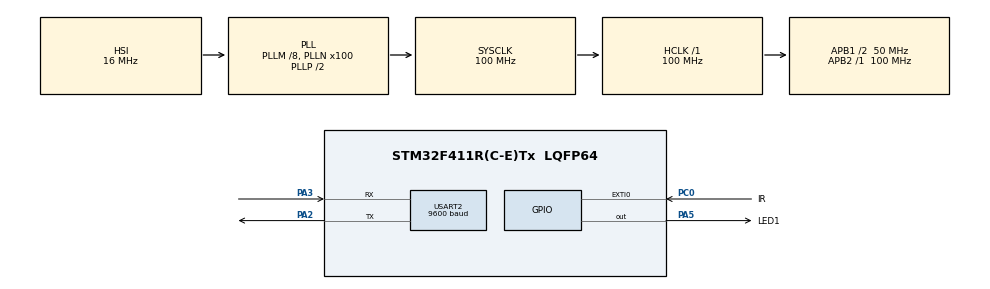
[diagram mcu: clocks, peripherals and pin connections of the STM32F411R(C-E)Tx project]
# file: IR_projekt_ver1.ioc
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Mcu.Family=STM32F4
Mcu.Name=STM32F411R(C-E)Tx
Mcu.Package=LQFP64
NVIC.EXTI0_IRQn=true\:0\:0\:false\:false\:true\:true
NVIC.PriorityGroup=NVIC_PRIORITYGROUP_4
NVIC.RCC_IRQn=true\:0\:0\:false\:false\:true\:true
NVIC.USART2_IRQn=true\:0\:0\:false\:false\:true\:true
PA2.Mode=Asynchronous
PA2.Signal=USART2_TX
PA3.Mode=Asynchronous
PA3.Signal=USART2_RX
PA5.GPIO_Label=LED1
PA5.Signal=GPIO_Output
PC0.GPIO_Label=IR
PC0.GPIO_ModeDefaultEXTI=GPIO_MODE_IT_RISING_FALLING
PC0.Signal=GPXTI0
PH0\ -\ OSC_IN.Mode=HSE-External-Oscillator
PH0\ -\ OSC_IN.Signal=RCC_OSC_IN
PH1\ -\ OSC_OUT.Mode=HSE-External-Oscillator
PH1\ -\ OSC_OUT.Signal=RCC_OSC_OUT
ProjectManager.HeapSize=0x200
ProjectManager.StackSize=0x400
ProjectManager.TargetToolchain=SW4STM32
RCC.48MHZClocksFreq_Value=50000000
RCC.AHBFreq_Value=100000000
RCC.APB1CLKDivider=RCC_HCLK_DIV2
RCC.APB1Freq_Value=50000000
RCC.APB1TimFreq_Value=100000000
RCC.APB2Freq_Value=100000000
RCC.APB2TimFreq_Value=100000000
RCC.CortexFreq_Value=100000000
RCC.HCLKFreq_Value=100000000
RCC.HSE_VALUE=25000000
RCC.HSI_VALUE=16000000
RCC.LSE_VALUE=32768
RCC.PLLM=8
RCC.PLLN=100
RCC.SYSCLKFreq_VALUE=100000000
RCC.SYSCLKSource=RCC_SYSCLKSOURCE_PLLCLK
RCC.VCOOutputFreq_Value=200000000
TIM3.Period=4
TIM3.Prescaler=1
USART2.BaudRate=9600
USART2.VirtualMode=VM_ASYNC
VP_TIM3_VS_ClockSourceINT.Mode=Internal
board=custom

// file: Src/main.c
/**
 ******************************************************************************
 * @file           : main.c
 * @brief          : Main program body
 ******************************************************************************
 ** This notice applies to any and all portions of this file
 * that are not between comment pairs USER CODE BEGIN and
 * USER CODE END. Other portions of this file, whether
 * inserted by the user or by software development tools
 * are owned by their respective copyright owners.
 *
 * COPYRIGHT(c) 2018 STMicroelectronics
 *
 * Redistribution and use in source and binary forms, with or without modification,
 * are permitted provided that the following conditions are met:
 *   1. Redistributions of source code must retain the above copyright notice,
 *      this list of conditions and the following disclaimer.
 *   2. Redistributions in binary form must reproduce the above copyright notice,
 *      this list of conditions and the following disclaimer in the documentation
 *      and/or other materials provided with the distribution.
 *   3. Neither the name of STMicroelectronics nor the names of its contributors
 *      may be used to endorse or promote products derived from this software
 *      without specific prior written permission.
 *
 * THIS SOFTWARE IS PROVIDED BY THE COPYRIGHT HOLDERS AND CONTRIBUTORS "AS IS"
 * AND ANY EXPRESS OR IMPLIED WARRANTIES, INCLUDING, BUT NOT LIMITED TO, THE
 * IMPLIED WARRANTIES OF MERCHANTABILITY AND FITNESS FOR A PARTICULAR PURPOSE ARE
 * DISCLAIMED. IN NO EVENT SHALL THE COPYRIGHT HOLDER OR CONTRIBUTORS BE LIABLE
 * FOR ANY DIRECT, INDIRECT, INCIDENTAL, SPECIAL, EXEMPLARY, OR CONSEQUENTIAL
 * DAMAGES (INCLUDING, BUT NOT LIMITED TO, PROCUREMENT OF SUBSTITUTE GOODS OR
 * SERVICES; LOSS OF USE, DATA, OR PROFITS; OR BUSINESS INTERRUPTION) HOWEVER
 * CAUSED AND ON ANY THEORY OF LIABILITY, WHETHER IN CONTRACT, STRICT LIABILITY,
 * OR TORT (INCLUDING NEGLIGENCE OR OTHERWISE) ARISING IN ANY WAY OUT OF THE USE
 * OF THIS SOFTWARE, EVEN IF ADVISED OF THE POSSIBILITY OF SUCH DAMAGE.
 *
 ******************************************************************************
 */
#include "main.h"
#include "stm32f4xx_hal.h"

/* USER CODE BEGIN Includes */
#include <stdbool.h>
#include "przyciski.h"
//
#define buffer_size 255 //rozmiar bufora kolowego
#define adres_domowy 0x16
#define Start       0x80
#define end         0x40
#define czy_starszy           0B00010000
uint8_t i = 0;
uint8_t znak;
uint8_t bajt;

const int led_on_off = 0x11; // komenda led on/led off
const int miganie = 0x10; //miganie dioda
const int przycisk = 0x09; //ostatni wduszony przycisk

int flaga;
/* USER CODE END Includes */

TIM_HandleTypeDef htim3;

UART_HandleTypeDef huart2;

/* USER CODE BEGIN PV */

/* Private variables ---------------------------------------------------------*/
uint32_t czas = 0;
uint8_t polbit = 0;
uint32_t zdekodowany_sygnal = 0;
uint8_t sukces = 0;
uint32_t cos = 0;
int miejsce = 0;
int8_t liczba = 0;

bool sygnal = false;
uint32_t timer = 0;
bool timer_go = false;
bool timer_ramka_go = false;
uint32_t timer_ramka = 0;

uint8_t Received;     //zmienna przechowujaca dane odebrane z usarta
uint8_t przerwanie = 0;  // flaga informujaca o uruchomieniu przerwania usarta
uint8_t buffer_rx[buffer_size]; //bufor konowy
uint8_t buffer_end = 0; //indeks konca zapisu
uint8_t buffer_start = 0; //indeks poczatku zapisu
uint8_t CMD_buffer_rx[buffer_size]; //bufor pomocniczy
uint8_t CMD_BUFFER_INDEX = 0; // indeks bufora
uint16_t zapalona; //jak dlugo dioda zapalona
uint16_t zgaszona; //jak dlugo dioda zgaszona

uint8_t buffer_tx[buffer_size]; //bufor kolowy
uint8_t buffer_xx[buffer_size];
uint8_t buffer_tx_end = 0; //indeks konca zapisu
uint8_t buffer_tx_start = 0; //indeks poczatku zapisu
uint8_t tx_transmit = 0;

uint8_t data[buffer_size];
uint8_t flag = 0;
uint8_t flaga_starszego = 1;
/* USER CODE END PV */

void SystemClock_Config(void);
static void MX_GPIO_Init(void);
static void MX_TIM3_Init(void);
static void MX_USART2_UART_Init(void);

/* USER CODE BEGIN PFP */
/* Private function prototypes -----------------------------------------------*/

/* USER CODE END PFP */

/* USER CODE BEGIN 0 */

void HAL_GPIO_EXTI_Callback(uint16_t GPIO_Pin) {
	if (GPIO_Pin == GPIO_PIN_0) {
		sygnal = true;
	}
}
int dekodowania = 0;

int minimum = 10000;
int maximum = 0;
void dekodowanie() {
	czas = timer;
	timer = 0;
//	if( czas > maximum)
//		maximum = czas;
//	if (czas < minimum)
//		minimum = czas;

	//odbioru pierwszego bitu
	if ((polbit == 0)
			&& (HAL_GPIO_ReadPin(IR_GPIO_Port, IR_Pin) == GPIO_PIN_RESET)) {
		//wyzerowanie oraz w³¹czenie licznika
		timer = 0;
		timer_go = true;
		//ustawienie wartoœci pocz¹tkowych
		polbit = 1;
		zdekodowany_sygnal = 0;
		sukces = 0;

	} else if (polbit > 0) {
		//aktualizacja stanu w którym znajduje sie dekodowanie rc5
		// ze sprawdzaniem czy czas trwania impulsu jest poprawny
		//news = licznik1;
		if ((czas >= 13) && (czas <= 22)) {
			polbit += 2;

		} else if ((czas >= 5) && (czas <= 11)) {
			polbit += 1;
		}

		//w przypadku b³êdnego czasu trwania stanu zerowanie
		else {
			polbit = 0;
		}
	}

	//b³¹d
	else {
		polbit = 0;
	}

	switch (polbit) {
	//rozpoznawanie stanów
	case 27:
		if (HAL_GPIO_ReadPin(IR_GPIO_Port, IR_Pin) == GPIO_PIN_RESET) {
			zdekodowany_sygnal |= 0x01;
		}
		//odebrano pomyœlnie
		sukces = 1;
		cos = zdekodowany_sygnal;
		info_przyciski(cos);
		polbit = 0;
		break;

	case 25:
		if (HAL_GPIO_ReadPin(IR_GPIO_Port, IR_Pin) == GPIO_PIN_RESET) {
			zdekodowany_sygnal |= 0x0002;
		}
		break;
	case 23:
		if (HAL_GPIO_ReadPin(IR_GPIO_Port, IR_Pin) == GPIO_PIN_RESET) {
			zdekodowany_sygnal |= 0x0004;
		}
		break;
	case 21:
		if (HAL_GPIO_ReadPin(IR_GPIO_Port, IR_Pin) == GPIO_PIN_RESET) {
			zdekodowany_sygnal |= 0x0008;
		}
		break;
	case 19:
		if (HAL_GPIO_ReadPin(IR_GPIO_Port, IR_Pin) == GPIO_PIN_RESET) {
			zdekodowany_sygnal |= 0x0010;
		}
		break;
	case 17:
		if (HAL_GPIO_ReadPin(IR_GPIO_Port, IR_Pin) == GPIO_PIN_RESET) {
			zdekodowany_sygnal |= 0x0020;
		}
		break;
	case 15:
		if (HAL_GPIO_ReadPin(IR_GPIO_Port, IR_Pin) == GPIO_PIN_RESET) {
			zdekodowany_sygnal |= 0x0040;
		}
		break;
	case 13:
		if (HAL_GPIO_ReadPin(IR_GPIO_Port, IR_Pin) == GPIO_PIN_RESET) {
			zdekodowany_sygnal |= 0x0080;
		}
		break;
	case 11:
		if (HAL_GPIO_ReadPin(IR_GPIO_Port, IR_Pin) == GPIO_PIN_RESET) {
			zdekodowany_sygnal |= 0x0100;
		}
		break;
	case 9:
		if (HAL_GPIO_ReadPin(IR_GPIO_Port, IR_Pin) == GPIO_PIN_RESET) {
			zdekodowany_sygnal |= 0x0200;
		}
		break;
	case 7:
		if (HAL_GPIO_ReadPin(IR_GPIO_Port, IR_Pin) == GPIO_PIN_RESET) {
			zdekodowany_sygnal |= 0x0400;
		}
		break;
	case 5:
		if (HAL_GPIO_ReadPin(IR_GPIO_Port, IR_Pin) == GPIO_PIN_RESET) {
			zdekodowany_sygnal |= 0x0800;
		}
		break;
	case 3:
		if (HAL_GPIO_ReadPin(IR_GPIO_Port, IR_Pin) == GPIO_PIN_RESET) {
			zdekodowany_sygnal |= 0x1000;
		}

		break;
	case 1:
		if (HAL_GPIO_ReadPin(IR_GPIO_Port, IR_Pin) == GPIO_PIN_RESET) {
			zdekodowany_sygnal |= 0x2000;
		}

		break;
	default:
		break;
	}
}

//callback wywolywany po odborze
void HAL_UART_RxCpltCallback(UART_HandleTypeDef *huart) {
	if (huart->Instance == USART2) {
		buffer_end++;
		if (buffer_end >= buffer_size) {
			buffer_end = 0;
		}
		HAL_UART_Receive_IT(&huart2, &buffer_rx[buffer_end], 1);
	}
}

#define POLYNOM 0x1021
uint16_t crc = 0xFFFF;
void error() {
	i = 0;
	crc = 0xFFFF;
	flag = 0;
	flaga_starszego = 1;
}

unsigned int crc16(unsigned int crcValue, unsigned char newByte) {
	unsigned char i;
	for (i = 0; i < 8; i++) {
		if (((crcValue & 0x8000) >> 8) ^ (newByte & 0x80)) {
			crcValue = (crcValue << 1) ^ POLYNOM;
		} else {
			crcValue = (crcValue << 1);
		}
		newByte <<= 1;
	}
	return crcValue;
}

void ramka() {
	if (buffer_start != buffer_end) {		//jezeli w buforze sa dane
		znak = buffer_rx[buffer_start];
		if (znak == Start) {//jezeli trafimy na poczatek ramki to usuwamy poprzednia ramke
			error();
			flag = 1; //flaga informuj¹ca ¿e odebrano znak rowny poczatkowi ramki
		} else if ((znak == end) && flag == 1) {
			wykonac();        //wykonywanie ramki
			error();

		} else {
			if ((znak & czy_starszy) && znak > 15 && znak <= 31 && flag == 1 // 15 < znak <= 31 poniewaz oczekujemy znaku od 0x10 do 0x1F
			&& flaga_starszego == 1) {
				bajt = (znak ^ czy_starszy) << 4;
				flaga_starszego = 0; // na zmiane musza przychodzic znaki zaczynajace sie od 0x1 i 0x0, kiedy flaga_starszego = 0
									 //to oczekujemy nastepnym razem na znak zaczynajacy sie od 0x0.
			} else if (!(znak & czy_starszy) && znak >= 0 && znak <= 15 // tutaj oczekujemy znaku od 0x00 do 0x0F
			&& flag == 1 && flaga_starszego == 0) {
				bajt += znak;
				CMD_buffer_rx[i] = bajt;
				crc = crc16(crc, bajt);
				i++;
				bajt = 0;
				flaga_starszego = 1; // nastepnym razem bedzie musial przyjsc znak od 0x10 do 0x1F
			} else {
				error();
			}
		}
		buffer_inc();
	}
}

void buffer_inc() {   // inkrementacja indeksu odczytu z bufora
	buffer_start++;
	if (buffer_start >= buffer_size) {
		buffer_start = 0;
	}
}

//char Temp[5];
//		sprintf(Temp, "%i", CMD_BUFFER_INDEX);
//		send(Temp,5);

void wykonac() {
	if (CMD_buffer_rx[0] == adres_domowy) {
		switch (CMD_buffer_rx[2]) {
		case 0x11:      //zapalenie diody
			if (CMD_buffer_rx[3] == 1) { // zapalenie
				HAL_GPIO_WritePin(GPIOA, GPIO_PIN_5, GPIO_PIN_SET);
				send("Dioda zapalona\n\r", 16);
			} else if (CMD_buffer_rx[3] == 0) { //zgaszenie
				HAL_GPIO_WritePin(GPIOA, GPIO_PIN_5, GPIO_PIN_RESET);
				send("Dioda zgaszona\n\r", 16);
			}
			break;
		case 0x09:      //przycisk
			info_przyciski(cos);
			break;
		default:
			break;
		}
	}
}

void send(char *dane, uint16_t rozmiar) {
	//dodawanie danych do bufora
	for (int x = 0; x < rozmiar; x++) {
		buffer_tx[buffer_tx_start++] = dane[x];
		if (buffer_tx_start >= buffer_size) {
			buffer_tx_start = 0;
		}
	}
	int ile;
	__disable_irq(); // zablokowanie przerwania
	if (tx_transmit == 0) {
		tx_transmit = 1;
		ile = 0;
		while (buffer_tx_start != buffer_tx_end) {
			buffer_xx[ile++] = buffer_tx[buffer_tx_end++]; //zapis do bufora pomocniczego
			if (buffer_tx_end >= buffer_size) {
				buffer_tx_end = 0;
			}
		}
		HAL_UART_Transmit_IT(&huart2, buffer_xx, ile);
	}
	__enable_irq(); //odblokowanie przerwania
}
//przerwanie wywolywane po wyslaniu znaku
void HAL_UART_TxCpltCallback(UART_HandleTypeDef *huart) {
	if (huart->Instance == USART2) {
		if (buffer_tx_end != buffer_tx_start) {
			int ile1 = 0;
			while (buffer_tx_end != buffer_tx_start) { /*dopoki w buforze jest cos do wyslania,
			 czego jeszcze nie wyslalismy, bedziemy dodawac do tablicy, a pozniej zostana wyslane*/
				buffer_xx[ile1++] = buffer_tx[buffer_tx_end++]; //zapisanie do bufora pomocniczego
				if (buffer_tx_end >= buffer_size) {
					buffer_tx_end = 0;
				}
			}
			HAL_UART_Transmit_IT(&huart2, buffer_xx, ile1);
		} else {
			tx_transmit = 0; //jesli nie ma juz nic do wyslania
		}
	}
}
/* USER CODE END 0 */

int main(void) {

	/* MCU Configuration----------------------------------------------------------*/

	/* Reset of all peripherals, Initializes the Flash interface and the Systick. */
	HAL_Init();

	/* Configure the system clock */
	SystemClock_Config();

	/* Initialize all configured peripherals */
	MX_GPIO_Init();
	MX_TIM3_Init();
	MX_USART2_UART_Init();
	/* USER CODE BEGIN 2 */

	HAL_UART_Receive_IT(&huart2, &buffer_rx[buffer_end], 1);
	/* USER CODE END 2 */

	/* Infinite loop */
	while (1) {

		/* USER CODE BEGIN 3 */

		if (timer_ramka >= 1000) {
			error();
			timer_ramka_go = false;
			timer_ramka = 0;
		}

		ramka();

		if (sygnal == true) {
			dekodowanie();
			sygnal = false;
		}

		//if (przycisk!= 0) {
		//	size = sprintf(data, "Wartosc jest rowna: %d.\n\r", news); // Stworzenie wiadomosci do wyslania oraz przypisanie ilosci wysylanych znakow do zmiennej size.
		//	HAL_UART_Transmit_IT(&huart2, data, size); // Rozpoczecie nadawania danych z wykorzystaniem przerwan
		//	info = false;
		//}
	}
	/* USER CODE END 3 */

}

void SystemClock_Config(void) {

	RCC_OscInitTypeDef RCC_OscInitStruct;
	RCC_ClkInitTypeDef RCC_ClkInitStruct;

	/**Configure the main internal regulator output voltage
	 */
	__HAL_RCC_PWR_CLK_ENABLE()
	;

	__HAL_PWR_VOLTAGESCALING_CONFIG(PWR_REGULATOR_VOLTAGE_SCALE1);

	/**Initializes the CPU, AHB and APB busses clocks
	 */
	RCC_OscInitStruct.OscillatorType = RCC_OSCILLATORTYPE_HSI;
	RCC_OscInitStruct.HSIState = RCC_HSI_ON;
	RCC_OscInitStruct.HSICalibrationValue = 16;
	RCC_OscInitStruct.PLL.PLLState = RCC_PLL_ON;
	RCC_OscInitStruct.PLL.PLLSource = RCC_PLLSOURCE_HSI;
	RCC_OscInitStruct.PLL.PLLM = 8;
	RCC_OscInitStruct.PLL.PLLN = 100;
	RCC_OscInitStruct.PLL.PLLP = RCC_PLLP_DIV2;
	RCC_OscInitStruct.PLL.PLLQ = 4;
	if (HAL_RCC_OscConfig(&RCC_OscInitStruct) != HAL_OK) {
		_Error_Handler(__FILE__, __LINE__);
	}

	/**Initializes the CPU, AHB and APB busses clocks
	 */
	RCC_ClkInitStruct.ClockType = RCC_CLOCKTYPE_HCLK | RCC_CLOCKTYPE_SYSCLK
			| RCC_CLOCKTYPE_PCLK1 | RCC_CLOCKTYPE_PCLK2;
	RCC_ClkInitStruct.SYSCLKSource = RCC_SYSCLKSOURCE_PLLCLK;
	RCC_ClkInitStruct.AHBCLKDivider = RCC_SYSCLK_DIV1;
	RCC_ClkInitStruct.APB1CLKDivider = RCC_HCLK_DIV2;
	RCC_ClkInitStruct.APB2CLKDivider = RCC_HCLK_DIV1;

	if (HAL_RCC_ClockConfig(&RCC_ClkInitStruct, FLASH_LATENCY_3) != HAL_OK) {
		_Error_Handler(__FILE__, __LINE__);
	}

	/**Configure the Systick interrupt time
	 */
	HAL_SYSTICK_Config(HAL_RCC_GetHCLKFreq() / 10000);

	/**Configure the Systick
	 */
	HAL_SYSTICK_CLKSourceConfig(SYSTICK_CLKSOURCE_HCLK);

	/* SysTick_IRQn interrupt configuration */
	HAL_NVIC_SetPriority(SysTick_IRQn, 0, 0);
}

/* TIM3 init function */
static void MX_TIM3_Init(void) {

	TIM_ClockConfigTypeDef sClockSourceConfig;
	TIM_MasterConfigTypeDef sMasterConfig;

	htim3.Instance = TIM3;
	htim3.Init.Prescaler = 1;
	htim3.Init.CounterMode = TIM_COUNTERMODE_UP;
	htim3.Init.Period = 4;
	htim3.Init.ClockDivision = TIM_CLOCKDIVISION_DIV1;
	if (HAL_TIM_Base_Init(&htim3) != HAL_OK) {
		_Error_Handler(__FILE__, __LINE__);
	}

	sClockSourceConfig.ClockSource = TIM_CLOCKSOURCE_INTERNAL;
	if (HAL_TIM_ConfigClockSource(&htim3, &sClockSourceConfig) != HAL_OK) {
		_Error_Handler(__FILE__, __LINE__);
	}

	sMasterConfig.MasterOutputTrigger = TIM_TRGO_RESET;
	sMasterConfig.MasterSlaveMode = TIM_MASTERSLAVEMODE_DISABLE;
	if (HAL_TIMEx_MasterConfigSynchronization(&htim3, &sMasterConfig)
			!= HAL_OK) {
		_Error_Handler(__FILE__, __LINE__);
	}

}

/* USART2 init function */
static void MX_USART2_UART_Init(void) {

	huart2.Instance = USART2;
	huart2.Init.BaudRate = 9600;
	huart2.Init.WordLength = UART_WORDLENGTH_8B;
	huart2.Init.StopBits = UART_STOPBITS_1;
	huart2.Init.Parity = UART_PARITY_NONE;
	huart2.Init.Mode = UART_MODE_TX_RX;
	huart2.Init.HwFlowCtl = UART_HWCONTROL_NONE;
	huart2.Init.OverSampling = UART_OVERSAMPLING_16;
	if (HAL_UART_Init(&huart2) != HAL_OK) {
		_Error_Handler(__FILE__, __LINE__);
	}

}

/** Configure pins as
 * Analog
 * Input
 * Output
 * EVENT_OUT
 * EXTI
 */
static void MX_GPIO_Init(void) {

	GPIO_InitTypeDef GPIO_InitStruct;

	/* GPIO Ports Clock Enable */
	__HAL_RCC_GPIOH_CLK_ENABLE()
	;
	__HAL_RCC_GPIOC_CLK_ENABLE()
	;
	__HAL_RCC_GPIOA_CLK_ENABLE()
	;

	/*Configure GPIO pin Output Level */
	HAL_GPIO_WritePin(LED1_GPIO_Port, LED1_Pin, GPIO_PIN_RESET);

	/*Configure GPIO pin : IR_Pin */
	GPIO_InitStruct.Pin = IR_Pin;
	GPIO_InitStruct.Mode = GPIO_MODE_IT_RISING_FALLING;
	GPIO_InitStruct.Pull = GPIO_NOPULL;
	HAL_GPIO_Init(IR_GPIO_Port, &GPIO_InitStruct);

	/*Configure GPIO pin : LED1_Pin */
	GPIO_InitStruct.Pin = LED1_Pin;
	GPIO_InitStruct.Mode = GPIO_MODE_OUTPUT_PP;
	GPIO_InitStruct.Pull = GPIO_NOPULL;
	GPIO_InitStruct.Speed = GPIO_SPEED_FREQ_LOW;
	HAL_GPIO_Init(LED1_GPIO_Port, &GPIO_InitStruct);

	/* EXTI interrupt init*/
	HAL_NVIC_SetPriority(EXTI0_IRQn, 0, 0);
	HAL_NVIC_EnableIRQ(EXTI0_IRQn);

}

void _Error_Handler(char *file, int line) {
	while (1) {
	}
}

/************************ (C) COPYRIGHT STMicroelectronics *****END OF FILE****/
